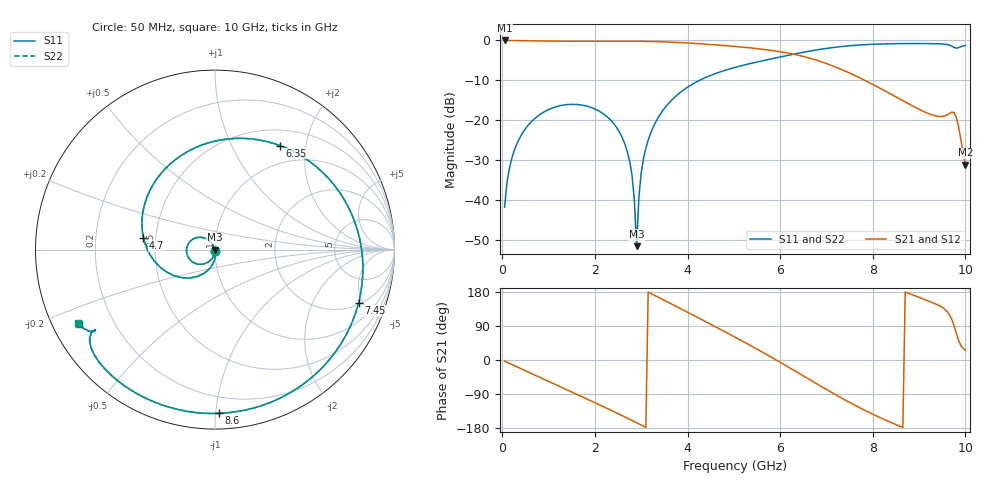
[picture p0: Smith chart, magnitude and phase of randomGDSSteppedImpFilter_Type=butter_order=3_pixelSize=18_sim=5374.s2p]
! freq	dB(S11)	phase(S11)	dB(S12)	phase(S12)
!  dB(S21)	phase(S21)	dB(S22)	phase(S22)
!S-par simulation data
#  GHz  S  DB  R 50
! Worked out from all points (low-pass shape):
!   200 points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, 50 MHz to 10 GHz, reference 50 ohm
!   highest |S21| = -0.01 dB at 50 MHz (marker M1); lowest = -31.1 dB at 10 GHz (marker M2)
!   |S21| within 3 dB of the highest: start of sweep to 6.095 GHz
!   lowest |S11| = -51.4 dB at 2.9 GHz (marker M3), VSWR 1.01, Z = 49.7 + j0.00302 ohm
!   |S11| at or under -10 dB: start of sweep to 4.254 GHz
!   |S22| runs from -49.9 to -0.8 dB; largest |S21 - S12| = 0
!   S11 on the Smith chart (normalised r, x): 50 MHz: 1.00, -0.02; 4.7 GHz: 0.43, +0.07; 6.35 GHz: 0.72, +1.56; 7.45 GHz: 2.13, -4.64; 8.6 GHz: 0.09, -1.02; 10 GHz: 0.08, -0.25
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0.05  -41.68 -92.3  -0.01 -2.9  -0.01 -2.9  -41.68 -92.3
0.2  -29.70 -101.3  -0.03 -11.4  -0.03 -11.4  -29.70 -101.3
0.5  -22.08 -118.5  -0.06 -28.4  -0.06 -28.4  -22.08 -118.5
1.15  -16.62 -155.5  -0.17 -64.9  -0.17 -64.9  -16.62 -155.4
1.75  -16.23 170.8  -0.22 -98.5  -0.22 -98.5  -16.23 171.0
2.65  -26.00 119.5  -0.20 -150.5  -0.20 -150.5  -26.00 120.6
2.8  -33.63 111.9  -0.20 -159.5  -0.20 -159.5  -33.61 114.7
2.9  -51.44 179.4  -0.21 -165.6  -0.21 -165.6  -49.85 -171.6
2.95  -39.12 -83.8  -0.21 -168.6  -0.21 -168.6  -38.99 -89.6
3.05  -29.52 -87.0  -0.23 -174.7  -0.23 -174.7  -29.50 -89.0
3.4  -18.67 -107.5  -0.32 163.7  -0.32 163.7  -18.66 -108.2
4.1  -10.97 -151.1  -0.70 119.6  -0.70 119.6  -10.97 -151.4
4.7  -7.88 170.8  -1.19 81.4  -1.19 81.4  -7.88 170.5
5.05  -6.66 148.1  -1.53 58.7  -1.53 58.7  -6.66 147.9
5.7  -4.88 104.3  -2.32 15.0  -2.32 15.0  -4.88 104.1
6.35  -3.31 58.0  -3.59 -31.0  -3.59 -31.0  -3.31 57.9
6.7  -2.55 32.5  -4.63 -56.3  -4.63 -56.3  -2.55 32.4
7.45  -1.38 -20.3  -7.89 -108.8  -7.89 -108.8  -1.38 -20.4
8.35  -0.84 -75.2  -13.18 -162.6  -13.18 -162.6  -0.84 -75.2
8.6  -0.79 -88.7  -14.75 -175.5  -14.75 -175.5  -0.79 -88.7
9.75  -1.71 -146.4  -17.99 92.3  -17.99 92.3  -1.59 -146.1
10  -1.27 -151.3  -31.08 25.7  -31.08 25.7  -1.22 -151.8
